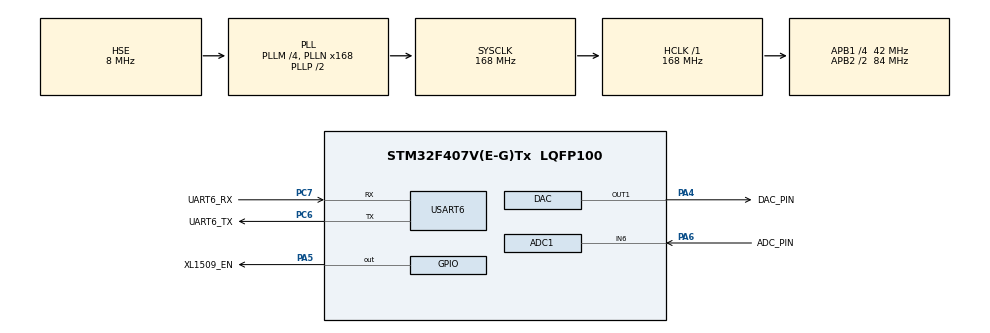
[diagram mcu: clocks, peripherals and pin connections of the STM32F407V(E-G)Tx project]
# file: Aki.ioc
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ADC1.Channel-1\#ChannelRegularConversion=ADC_CHANNEL_VREFINT
ADC1.NbrOfConversion=1
ADC1.NbrOfConversionFlag=1
ADC1.Rank-1\#ChannelRegularConversion=1
ADC1.SamplingTime-1\#ChannelRegularConversion=ADC_SAMPLETIME_3CYCLES
ADC1.master=1
DAC.DAC_Trigger=DAC_TRIGGER_SOFTWARE
Mcu.Family=STM32F4
Mcu.Name=STM32F407V(E-G)Tx
Mcu.Package=LQFP100
NVIC.ADC_IRQn=true\:2\:0\:true\:false\:true\:true\:true\:true
NVIC.PriorityGroup=NVIC_PRIORITYGROUP_2
NVIC.USART6_IRQn=true\:1\:1\:true\:false\:true\:true\:true\:true
PA13.Mode=Serial_Wire
PA13.Signal=SYS_JTMS-SWDIO
PA14.Mode=Serial_Wire
PA14.Signal=SYS_JTCK-SWCLK
PA4.GPIO_Label=DAC_PIN
PA4.GPIO_PuPd=GPIO_NOPULL
PA4.Signal=COMP_DAC1_group
PA5.GPIO_Label=XL1509_EN
PA5.GPIO_ModeDefaultOutputPP=GPIO_MODE_OUTPUT_PP
PA5.GPIO_PuPd=GPIO_PULLUP
PA5.GPIO_Speed=GPIO_SPEED_FREQ_MEDIUM
PA5.PinState=GPIO_PIN_SET
PA5.Signal=GPIO_Output
PA6.GPIO_Label=ADC_PIN
PA6.Signal=ADCx_IN6
PC14-OSC32_IN.Mode=LSE-External-Oscillator
PC14-OSC32_IN.Signal=RCC_OSC32_IN
PC15-OSC32_OUT.Mode=LSE-External-Oscillator
PC15-OSC32_OUT.Signal=RCC_OSC32_OUT
PC6.GPIO_Label=UART6_TX
PC6.GPIO_PuPd=GPIO_PULLUP
PC6.Mode=Asynchronous
PC6.Signal=USART6_TX
PC7.GPIO_Label=UART6_RX
PC7.GPIO_PuPd=GPIO_PULLUP
PC7.Mode=Asynchronous
PC7.Signal=USART6_RX
PH0-OSC_IN.Mode=HSE-External-Oscillator
PH0-OSC_IN.Signal=RCC_OSC_IN
PH1-OSC_OUT.Mode=HSE-External-Oscillator
PH1-OSC_OUT.Signal=RCC_OSC_OUT
ProjectManager.HeapSize=0x200
ProjectManager.StackSize=0x400
ProjectManager.TargetToolchain=MDK-ARM V5.32
RCC.48MHZClocksFreq_Value=84000000
RCC.AHBFreq_Value=168000000
RCC.APB1CLKDivider=RCC_HCLK_DIV4
RCC.APB1Freq_Value=42000000
RCC.APB1TimFreq_Value=84000000
RCC.APB2CLKDivider=RCC_HCLK_DIV2
RCC.APB2Freq_Value=84000000
RCC.APB2TimFreq_Value=168000000
RCC.CortexFreq_Value=168000000
RCC.HCLKFreq_Value=168000000
RCC.HSE_VALUE=8000000
RCC.HSI_VALUE=16000000
RCC.PLLM=4
RCC.PLLN=168
RCC.PLLSourceVirtual=RCC_PLLSOURCE_HSE
RCC.SYSCLKFreq_VALUE=168000000
RCC.SYSCLKSource=RCC_SYSCLKSOURCE_PLLCLK
RCC.VCOOutputFreq_Value=336000000
SH.ADCx_IN6.0=ADC1_IN6,IN6
SH.COMP_DAC1_group.0=DAC_OUT1,DAC_OUT1
TIM2.AutoReloadPreload=TIM_AUTORELOAD_PRELOAD_ENABLE
TIM2.Period=500-1
TIM2.Prescaler=8400-1
TIM2.TIM_MasterOutputTrigger=TIM_TRGO_UPDATE
TIM2.TIM_MasterSlaveMode=TIM_MASTERSLAVEMODE_ENABLE
USART6.VirtualMode=VM_ASYNC
VP_ADC1_Vref_Input.Mode=IN-Vrefint
VP_TIM2_VS_ClockSourceINT.Mode=Internal
board=custom

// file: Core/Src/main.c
/* USER CODE BEGIN Header */
/**
  ******************************************************************************
  * @file           : main.c
  * @brief          : Main program body
  ******************************************************************************
  * @attention
  *
  * Copyright (c) 2025 STMicroelectronics.
  * All rights reserved.
  *
  * This software is licensed under terms that can be found in the LICENSE file
  * in the root directory of this software component.
  * If no LICENSE file comes with this software, it is provided AS-IS.
  *
  ******************************************************************************
  */
/* USER CODE END Header */
#include "main.h"
#include "adc.h"
#include "dac.h"
#include "tim.h"
#include "usart.h"
#include "gpio.h"

/* USER CODE BEGIN Includes */
#include ".\delay\delay.h"
#include ".\uart_UI\uart_gui.h"
#include ".\XL1509_EN\XL1509_enable.h"
#include ".\XL1509_DAC\XL1509_DAC_Control.h"
#include ".\XL1509_CurrentTest\XL1509_Current.h"
/* USER CODE END Includes */

/* USER CODE BEGIN PV */
uint8_t XL1509_State=1;
uint8_t XL1509_State_Change=0;
uint8_t voltage_State=0;//0表示不变，1表示步进增大，2表示步进变小，在主函数里

float voltage_adc_dac=2.500f;//ADC和DAC的实际电平，需要校准
float Output_Voltage=5.00f;//此时的电源输出电平
uint16_t Output_Voltage_int=500;

float Set_dac_voltage=0;
uint16_t Set_dac_value=0;

float Now_Current=0.00f;
//float Top_Value=8.568f;
//float bujing=2.97f;
//float Top_Value1=8.60f;
float Top_Value=8.568f; //用于5欧姆
float bujing = 3.47f;  //用于5欧姆
/* USER CODE END PV */

void SystemClock_Config(void);

int main(void)
{

  /* MCU Configuration--------------------------------------------------------*/

  /* Reset of all peripherals, Initializes the Flash interface and the Systick. */
  HAL_Init();

  /* Configure the system clock */
  SystemClock_Config();

  /* Initialize all configured peripherals */
  MX_GPIO_Init();
  MX_USART6_UART_Init();
  MX_ADC1_Init();
  MX_DAC_Init();
  MX_TIM2_Init();
  /* USER CODE BEGIN 2 */
    Set_XL1509_ENPIN(XL1509_State);
    UI_UART_Init();
    Get_actual_voltage();//得到此时真正的模拟电源电压
  /* USER CODE END 2 */

  /* Infinite loop */
  while (1)
  {

    /* USER CODE BEGIN 3 */
      if(XL1509_State_Change==1)
      {
          XL1509_State_Change=0;
          XL1509_State=XL1509_State?0:1;
//          Correct_UI_Button(XL1509_State);
          if(XL1509_State==1)
          {
              Set_XL1509_ENPIN(XL1509_State);
              Stop_ADC_Current();
              Stop_DAC_Output();
              Correct_UI_current(0.0f);
              Correct_UI_voltage(Output_Voltage_int);
          }
          else if(XL1509_State==0)
          {
              Set_Enable_DAC_Output();
              Correct_UI_voltage(Output_Voltage_int);
              Set_XL1509_ENPIN(XL1509_State);
              Start_ADC_Current();
          }
          Correct_UI_Button(XL1509_State);
      }

      if(voltage_State==1)//电压步进增大0.1V
      {
          Output_Voltage+=0.1f;
          Output_Voltage_int+=10;
          if(Output_Voltage_int>=750)
          {
              Output_Voltage_int=750;
          }
          Output_Voltage=Output_Voltage_int/100.0f;

          if(Output_Voltage>=7.500f)
          {
              Output_Voltage=7.500f;
          }

          if(XL1509_State==0)
          {
            Set_Enable_DAC_Output();
          }
          Correct_UI_voltage(Output_Voltage_int);
          voltage_State=0;
      }
      else if(voltage_State==2)//电压步进减小0.1V
      {
          Output_Voltage-=0.1f;
          Output_Voltage_int-=10;
          if(Output_Voltage_int<=250)
          {
              Output_Voltage_int=250;
          }
          Output_Voltage=Output_Voltage_int/100.0f;

          if(Output_Voltage<=2.500f)
          {
              Output_Voltage=2.500f;
          }

          if(XL1509_State==0)
          {
            Set_Enable_DAC_Output();
          }
          Correct_UI_voltage(Output_Voltage_int);
          voltage_State=0;
      }

      if(XL1509_State==0)
      {

      }

  }
  /* USER CODE END 3 */
}

void SystemClock_Config(void)
{
  RCC_OscInitTypeDef RCC_OscInitStruct = {0};
  RCC_ClkInitTypeDef RCC_ClkInitStruct = {0};

  /** Configure the main internal regulator output voltage
  */
  __HAL_RCC_PWR_CLK_ENABLE();
  __HAL_PWR_VOLTAGESCALING_CONFIG(PWR_REGULATOR_VOLTAGE_SCALE1);

  /** Initializes the RCC Oscillators according to the specified parameters
  * in the RCC_OscInitTypeDef structure.
  */
  RCC_OscInitStruct.OscillatorType = RCC_OSCILLATORTYPE_HSE;
  RCC_OscInitStruct.HSEState = RCC_HSE_ON;
  RCC_OscInitStruct.PLL.PLLState = RCC_PLL_ON;
  RCC_OscInitStruct.PLL.PLLSource = RCC_PLLSOURCE_HSE;
  RCC_OscInitStruct.PLL.PLLM = 4;
  RCC_OscInitStruct.PLL.PLLN = 168;
  RCC_OscInitStruct.PLL.PLLP = RCC_PLLP_DIV2;
  RCC_OscInitStruct.PLL.PLLQ = 4;
  if (HAL_RCC_OscConfig(&RCC_OscInitStruct) != HAL_OK)
  {
    Error_Handler();
  }

  /** Initializes the CPU, AHB and APB buses clocks
  */
  RCC_ClkInitStruct.ClockType = RCC_CLOCKTYPE_HCLK|RCC_CLOCKTYPE_SYSCLK
                              |RCC_CLOCKTYPE_PCLK1|RCC_CLOCKTYPE_PCLK2;
  RCC_ClkInitStruct.SYSCLKSource = RCC_SYSCLKSOURCE_PLLCLK;
  RCC_ClkInitStruct.AHBCLKDivider = RCC_SYSCLK_DIV1;
  RCC_ClkInitStruct.APB1CLKDivider = RCC_HCLK_DIV4;
  RCC_ClkInitStruct.APB2CLKDivider = RCC_HCLK_DIV2;

  if (HAL_RCC_ClockConfig(&RCC_ClkInitStruct, FLASH_LATENCY_5) != HAL_OK)
  {
    Error_Handler();
  }
}

void Error_Handler(void)
{
  __disable_irq();
  while (1)
  {
  }
}
